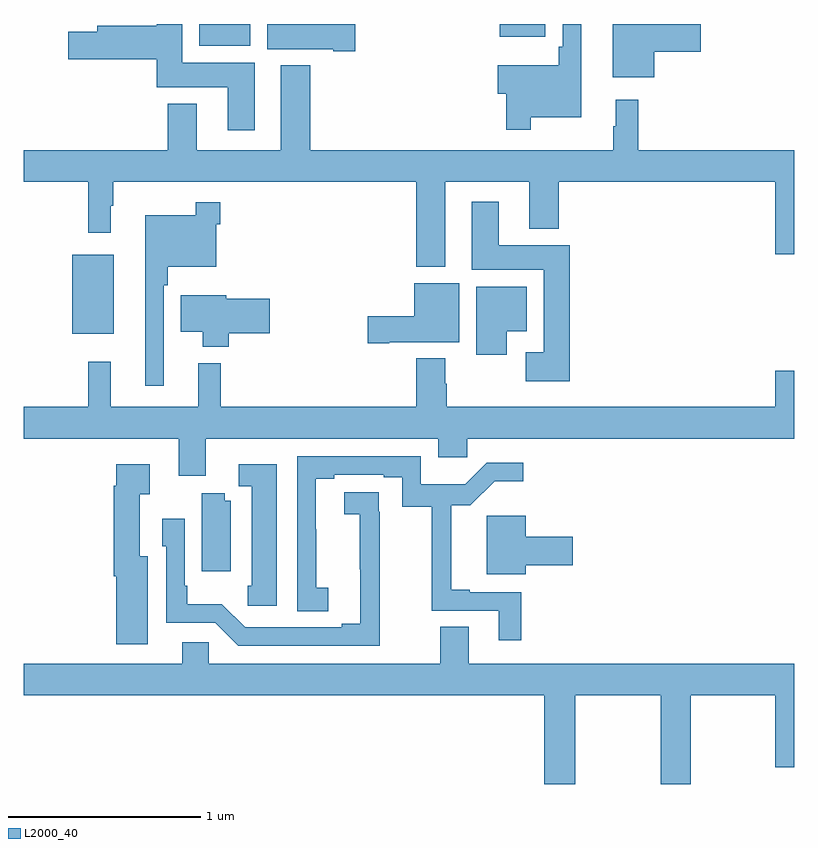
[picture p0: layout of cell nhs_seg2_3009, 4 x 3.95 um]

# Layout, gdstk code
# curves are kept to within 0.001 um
import gdstk
lib = gdstk.Library(unit=1e-6, precision=1e-09)
def R(c, l, rs):  # rectangles x0, y0, x1, y1
    for r in rs: c.add(gdstk.rectangle(r[:2], r[2:], *l))
def P(c, l, *ps):  # polygons
    for p in ps: c.add(gdstk.Polygon(p, *l))
L2000_40 = (2000, 40)

nhs_seg2_3009 = lib.new_cell('nhs_seg2_3009')
R(nhs_seg2_3009, L2000_40, [(269.252,636.191,269.467,636.601), (269.912,637.688,270.175,637.8), (271.472,637.733,271.708,637.8)])
P(nhs_seg2_3009, L2000_40, [(272.272,637.655),(272.515,637.655),(272.515,637.8),(272.057,637.8),(272.057,637.523),(272.272,637.523)],
  [(270.199,637.6),(269.824,637.6),(269.824,637.8),(269.69,637.8),(269.69,637.79),(269.381,637.79),(269.381,637.76),(269.232,637.76),(269.232,637.618),(269.69,637.618),(269.69,637.472),(270.059,637.472),(270.059,637.248),(270.199,637.248)],
  [(271.633,637.316),(271.894,637.316),(271.894,637.8),(271.797,637.8),(271.797,637.681),(271.777,637.681),(271.777,637.585),(271.46,637.585),(271.46,637.438),(271.504,637.438),(271.504,637.251),(271.633,637.251)],
  [(270.721,637.8),(270.263,637.8),(270.263,637.67),(270.608,637.67),(270.608,637.658),(270.721,637.658)],
  [(271.189,636.98),(271.625,636.98),(271.625,636.737),(271.778,636.737),(271.778,636.98),(272.9,636.98),(272.9,636.606),(273,636.606),(273,637.144),(272.189,637.144),(272.189,637.408),(272.072,637.408),(272.072,637.268),(272.061,637.268),(272.061,637.144),(270.488,637.144),(270.488,637.585),(270.335,637.585),(270.335,637.144),(269.899,637.144),(269.899,637.387),(269.747,637.387),(269.747,637.144),(269,637.144),(269,636.98),(269.335,636.98),(269.335,636.717),(269.452,636.717),(269.452,636.857),(269.464,636.857),(269.464,636.98),(271.037,636.98),(271.037,636.539),(271.189,636.539)],
  [(271.835,636.652),(271.465,636.652),(271.465,636.877),(271.325,636.877),(271.325,636.524),(271.7,636.524),(271.7,636.097),(271.605,636.097),(271.605,635.945),(271.835,635.945)],
  [(269.727,636.443),(269.747,636.443),(269.747,636.539),(270,636.539),(270,636.761),(270.02,636.761),(270.02,636.874),(269.892,636.874),(269.892,636.808),(269.63,636.808),(269.63,635.922),(269.727,635.922)],
  [(270.898,636.149),(271.261,636.149),(271.261,636.454),(271.028,636.454),(271.028,636.284),(270.786,636.284),(270.786,636.142),(270.898,636.142)],
  [(271.507,636.206),(271.612,636.206),(271.612,636.436),(271.349,636.436),(271.349,636.084),(271.507,636.084)],
  [(270.065,636.196),(270.277,636.196),(270.277,636.374),(270.052,636.374),(270.052,636.391),(269.816,636.391),(269.816,636.203),(269.93,636.203),(269.93,636.125),(270.065,636.125)],
  [(269.944,635.648),(271.151,635.648),(271.151,635.55),(271.303,635.55),(271.303,635.648),(273,635.648),(273,636.001),(272.9,636.001),(272.9,635.812),(271.197,635.812),(271.197,635.933),(271.189,635.933),(271.189,636.064),(271.037,636.064),(271.037,635.812),(270.023,635.812),(270.023,636.04),(269.906,636.04),(269.906,635.812),(269.453,635.812),(269.453,636.046),(269.335,636.046),(269.335,635.812),(269,635.812),(269,635.648),(269.804,635.648),(269.804,635.454),(269.944,635.454)],
  [(271.583,634.851),(271.315,634.851),(271.315,634.864),(271.22,634.864),(271.22,635.301),(271.319,635.301),(271.445,635.426),(271.594,635.426),(271.594,635.523),(271.404,635.523),(271.291,635.41),(271.062,635.41),(271.062,635.556),(270.42,635.556),(270.42,634.753),(270.58,634.753),(270.58,634.873),(270.519,634.873),(270.519,635.177),(270.517,635.177),(270.517,635.44),(270.613,635.44),(270.613,635.46),(270.869,635.46),(270.869,635.446),(270.966,635.446),(270.966,635.293),(271.117,635.293),(271.117,634.755),(271.466,634.755),(271.466,634.602),(271.583,634.602)],
  [(270.313,635.515),(270.117,635.515),(270.117,635.4),(270.185,635.4),(270.185,634.884),(270.163,634.884),(270.163,634.779),(270.313,634.779)],
  [(269.644,635.038),(269.602,635.038),(269.602,635.359),(269.653,635.359),(269.653,635.515),(269.48,635.515),(269.48,635.402),(269.468,635.402),(269.468,634.934),(269.48,634.934),(269.48,634.581),(269.644,634.581)],
  [(270.848,635.267),(270.842,635.267),(270.842,635.369),(270.663,635.369),(270.663,635.254),(270.745,635.254),(270.746,634.688),(270.65,634.688),(270.65,634.668),(270.15,634.668),(270.029,634.789),(269.848,634.789),(269.848,634.885),(269.835,634.885),(269.835,635.233),(269.718,635.233),(269.718,635.088),(269.739,635.088),(269.739,634.692),(269.994,634.692),(270.114,634.572),(270.848,634.572)],
  [(270.076,635.326),(270.044,635.326),(270.044,635.363),(269.924,635.363),(269.924,634.959),(270.076,634.959)],
  [(271.606,634.991),(271.849,634.991),(271.849,635.138),(271.606,635.138),(271.606,635.248),(271.403,635.248),(271.403,634.943),(271.606,634.943)],
  [(271.863,634.316),(272.308,634.316),(272.308,633.855),(272.463,633.855),(272.463,634.316),(272.9,634.316),(272.9,633.942),(273,633.942),(273,634.48),(271.309,634.48),(271.309,634.67),(271.162,634.67),(271.162,634.48),(269.961,634.48),(269.961,634.59),(269.822,634.59),(269.822,634.48),(269,634.48),(269,634.316),(271.703,634.316),(271.703,633.855),(271.863,633.855)])

lib.write_gds('nhs_seg2_3009.gds')
